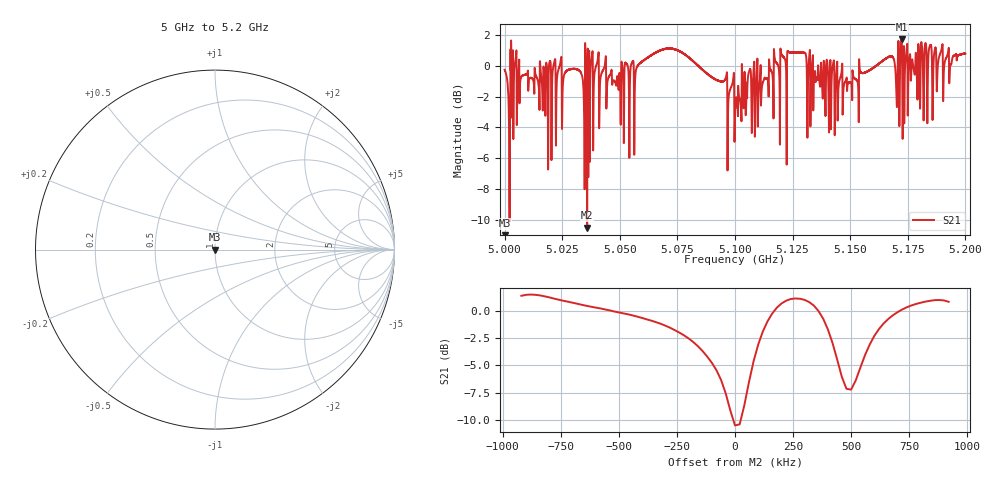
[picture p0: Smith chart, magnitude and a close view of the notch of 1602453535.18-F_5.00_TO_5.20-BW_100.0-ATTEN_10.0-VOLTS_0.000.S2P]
!Keysight Technologies,E5063A,MY54502693,A.05.04
!Date: Mon Oct 12 07:00:32 2020
!Data & Calibration Information:
!Freq	S11:NONE(--)	S21:NONE(--)	S12:NONE(--)	S22:NONE(--)
# Hz S RI R 50
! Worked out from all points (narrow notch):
!   10000 points, 5 GHz to 5.2 GHz, reference 50 ohm
!   highest |S21| = 1.72 dB at 5.1723 GHz (marker M1); lowest = -10.5 dB at 5.0358 GHz (marker M2)
!   notch at M2: 10.3 dB deep, 155 kHz wide at half that depth
!   lowest |S11| = - dB at 5 GHz (marker M3), VSWR 1.00, Z = 50 + j0 ohm
!   |S11| at or under -10 dB: start of sweep to end of sweep
!   S12 and S22 are empty: the file has one direction only
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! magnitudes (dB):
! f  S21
! 5 GHz  -0.3
! 5.0015 GHz  -1.5
! 5.0042 GHz  -0.2
! 5.0196 GHz  0.3
! 5.0238 GHz  -0.1
! 5.0333 GHz  -0.5
! 5.0349 GHz  1.5
! 5.0358 GHz  -10.5
! 5.0399 GHz  0.1
! 5.051 GHz  0.1
! 5.0529 GHz  0.1
! 5.057 GHz  -0.3
! 5.0667 GHz  0.9
! 5.0956 GHz  -0.9
! 5.1 GHz  -3.3
! 5.1237 GHz  0.8
! 5.13 GHz  0.8
! 5.1334 GHz  -0.1
! 5.1441 GHz  -0.2
! 5.1667 GHz  0.6
! 5.1723 GHz  1.7
! 5.2 GHz  0.8
